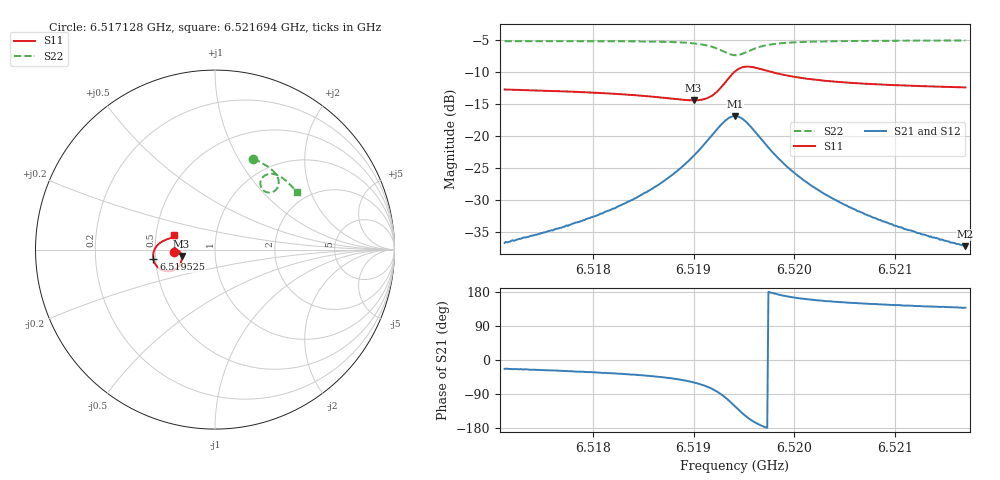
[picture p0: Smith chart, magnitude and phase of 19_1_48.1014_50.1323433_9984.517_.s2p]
#  HZ  S  RI  R  50.00
! Rohde & Schwarz Vector Network Analyzer
! Rohde-Schwarz,ZNB20-2Port,1311601062101988,3.16
! Created: UTC 12/23/2023, 3:36:28 AM
! freq[Hz]  re:S11  im:S11  re:S21  im:S21  re:S12  im:S12  re:S22  im:S22
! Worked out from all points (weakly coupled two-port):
!   401 points, 6.517128 GHz to 6.521694 GHz, reference 50 ohm
!   highest |S21| = -16.90 dB at 6.519411 GHz (marker M1); lowest = -37.2 dB at 6.521694 GHz (marker M2)
!   lowest |S11| = -14.5 dB at 6.519 GHz (marker M3), VSWR 1.47, Z = 34.2 - j2.49 ohm
!   |S11| at or under -10 dB: start of sweep to 6.519407 GHz; 6.519769 GHz to end of sweep
!   |S22| runs from -7.4 to -5.1 dB; largest |S21 - S12| = 0.0042
!   S11 on the Smith chart (normalised r, x): 6.517128 GHz: 0.63, -0.02; 6.519525 GHz: 0.49, -0.06; 6.521694 GHz: 0.62, +0.10
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6.5171282e9  -0.2299 -0.0144  0.0134 -0.00579  0.0137 -0.00532  0.2132 0.5055
6.5174592e9  -0.2262 -0.00961  0.0154 -0.00752  0.0154 -0.00703  0.2376 0.4949
6.5178929e9  -0.2197 -0.00494  0.0186 -0.0111  0.019 -0.0106  0.2696 0.4782
6.5183266e9  -0.2105 -0.00349  0.0239 -0.0182  0.0244 -0.0173  0.3022 0.4569
6.5186576e9  -0.1999 -0.00879  0.0299 -0.0293  0.0309 -0.0284  0.3282 0.4339
6.5188174e9  -0.1933 -0.0165  0.0334 -0.0395  0.0348 -0.0386  0.3407 0.4182
6.5190001e9  -0.1861 -0.035  0.0359 -0.0596  0.038 -0.0591  0.3527 0.3925
6.5191028e9  -0.1855 -0.0544  0.033 -0.0784  0.0358 -0.078  0.3552 0.3716
6.5191941e9  -0.1933 -0.0796  0.0223 -0.1012  0.0255 -0.1013  0.3497 0.3478
6.5193197e9  -0.2379 -0.1168  -0.0231 -0.1305  -0.0194 -0.1322  0.3146 0.3192
6.5193653e9  -0.2668 -0.1206  -0.0496 -0.131  -0.0463 -0.1334  0.2936 0.3186
6.519411e9  -0.2977 -0.1128  -0.0765 -0.1207  -0.0736 -0.1237  0.273 0.3275
6.5194681e9  -0.3285 -0.0874  -0.101 -0.095  -0.099 -0.0986  0.2562 0.3494
6.5195251e9  -0.3431 -0.0542  -0.1105 -0.0646  -0.1093 -0.0682  0.2529 0.3745
6.5196279e9  -0.3387 -0.00454  -0.1012 -0.0226  -0.1012 -0.0257  0.2698 0.4066
6.5197534e9  -0.3174 0.0277  -0.0792 0.00169  -0.0798 -0.000722  0.2981 0.4208
6.5199474e9  -0.2902 0.0472  -0.0543 0.0125  -0.0552 0.0111  0.3319 0.4197
6.5201757e9  -0.2704 0.0559  -0.0379 0.0145  -0.0387 0.0137  0.359 0.4092
6.5205182e9  -0.2534 0.0625  -0.0252 0.0136  -0.0258 0.013  0.3883 0.3895
6.5209405e9  -0.2406 0.0685  -0.017 0.0117  -0.0176 0.0114  0.4162 0.3646
6.5212372e9  -0.234 0.0727  -0.0138 0.0106  -0.0143 0.0103  0.4331 0.3464
6.5216938e9  -0.2258 0.0788  -0.0103 0.0092  -0.0107 0.00909  0.4562 0.3182
